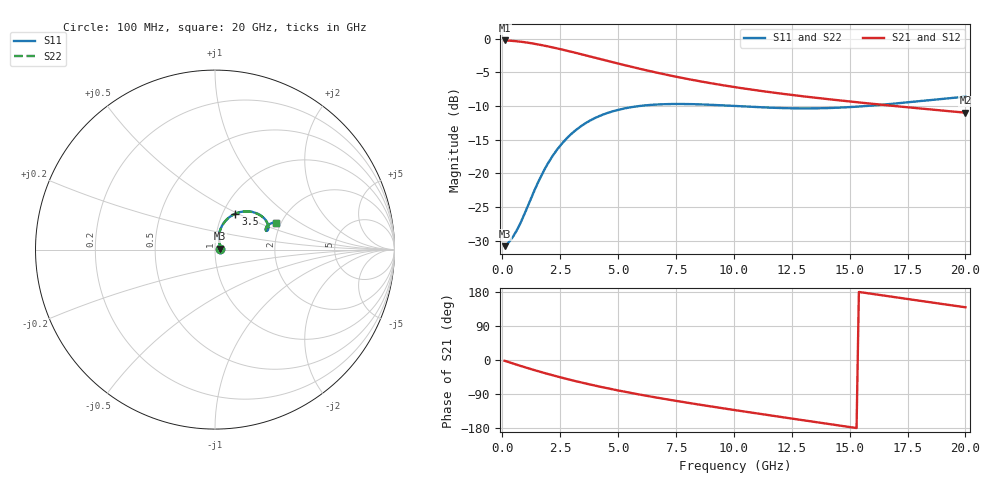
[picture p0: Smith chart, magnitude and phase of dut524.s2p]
! Touchstone file exported from HFSS 2024.1.0
!  File:  C:/UserFiles/LocalFiles/RDL_TSV_Batchsim/temp_RDL_TSV_524_1779743371.aedt
!  Generated:  05:28:45 AM May 26, 2026
!  Design:  RDL_TSV
!  Project:  temp_RDL_TSV_524_1779743371
!  Setup:  Setup1
!  Solution:  Sweep
! Variables:
!  dtsv = 11.08um
!  hbump = 3um
!  htsv = 85.27um
!  ldown = 625.69um
!  lrdl = 262.55um
!  p = 40
!  p1 = 49.77um
!  rhole = 10um
!  subl = 2927.27um
!  t = 450um
!  tdown = 2.95um
!  trdl = 3.33um
!  viad = 10um
!  wdown = 10.06um
!  wrdl = 16.96um
!  xbump = 18um
# GHz S MA R 50.000000
! Terminal data exported
! Port[1] = TM1_1_T1
! Port[2] = TM1_4_T1
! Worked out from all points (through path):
!   200 points, 100 MHz to 20 GHz, reference 50 ohm
!   highest |S21| = -0.25 dB at 100 MHz (marker M1); lowest = -11.0 dB at 20 GHz (marker M2)
!   group delay of S21, straight-line fit = 28.6 ps
!   lowest |S11| = -30.8 dB at 100 MHz (marker M3), VSWR 1.06, Z = 52.9 + j0.455 ohm
!   |S11| at or under -10 dB: start of sweep to 5.927 GHz; 10.06 GHz to 15.72 GHz (5.655 GHz wide, 43.9 % of centre)
!   |S22| runs from -30.8 to -8.6 dB; largest |S21 - S12| = 7e-15
!   S11 on the Smith chart (normalised r, x): 100 MHz: 1.06, +0.01; 3.5 GHz: 1.15, +0.48; 20 GHz: 1.87, +0.65
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0.1  0.02871 8.6  0.9712 -2.0  0.9712 -2.0  0.02871 8.6
! Gamma 0 0 0 0
! Port Impedance 50 0 50 0
0.4  0.03263 31.1  0.9655 -8.0  0.9655 -8.0  0.03263 31.1
0.7  0.03981 49.4  0.955 -13.9  0.955 -13.9  0.03981 49.4
1.3  0.06882 71.3  0.9233 -25.1  0.9233 -25.1  0.0688 71.3
1.8  0.1049 75.3  0.8897 -34.0  0.8897 -34.0  0.1048 75.2
2.2  0.1366 73.8  0.8603 -40.7  0.8603 -40.7  0.1365 73.7
2.6  0.168 70.3  0.8297 -47.1  0.8297 -47.1  0.1678 70.3
3  0.1974 66.1  0.7988 -53.3  0.7988 -53.3  0.1972 66.1
3.5  0.23 60.5  0.7604 -60.6  0.7604 -60.6  0.2297 60.4
4.2  0.2666 52.9  0.7087 -70.2  0.7087 -70.2  0.2662 52.8
5.1  0.2988 44.2  0.6479 -81.5  0.6479 -81.5  0.2983 44.1
5.9  0.3158 37.7  0.6002 -90.8  0.6002 -90.8  0.3153 37.6
6.8  0.3252 31.8  0.5536 -100.6  0.5536 -100.6  0.3246 31.7
7.5  0.3274 28.1  0.5223 -107.8  0.5223 -107.8  0.3268 28.0
8.3  0.3261 24.8  0.4911 -115.7  0.4911 -115.7  0.3255 24.8
10.1  0.316 20.6  0.4353 -132.7  0.4353 -132.7  0.3153 20.5
11.7  0.3067 19.9  0.3979 -147.3  0.3979 -147.3  0.306 19.8
13.4  0.3036 21.2  0.3664 -162.6  0.3664 -162.6  0.303 21.2
15  0.3103 23.3  0.3417 -176.9  0.3417 -176.9  0.3096 23.2
16.7  0.3267 24.8  0.3191 168.0  0.3191 168.0  0.326 24.7
18.4  0.3489 25.0  0.2991 153.0  0.2991 153.0  0.3481 24.9
20  0.3705 24.0  0.2822 139.1  0.2822 139.1  0.3696 23.9
